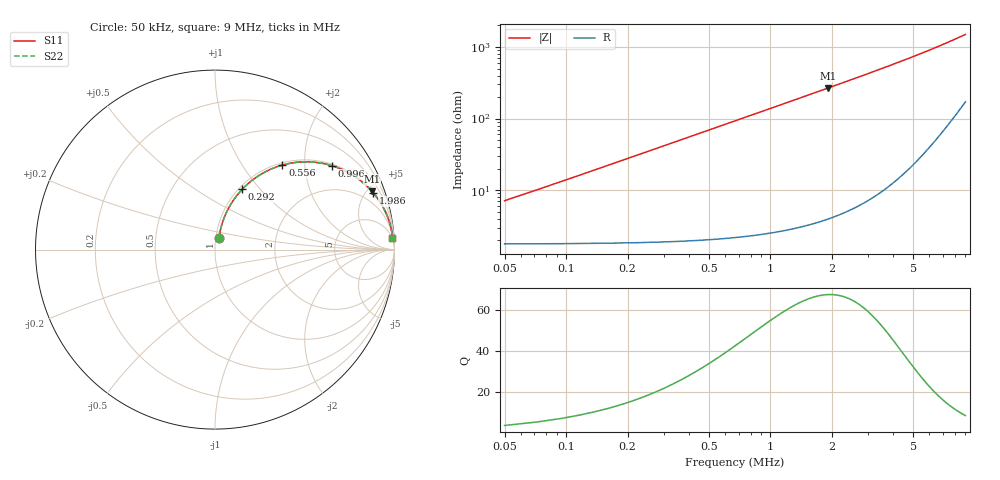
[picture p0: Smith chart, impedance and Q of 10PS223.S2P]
! Coilcraft 1008PS-223 Power Chip Inductor
! 7 October 2002
# MHZ S MA R 50
!Freq  MagS11  AngS11  MagS21  AngS21  MagS12  AngS12  MagS22  AngS22
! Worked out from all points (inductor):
!   408 points, 50 kHz to 9 MHz, reference 50 ohm
!   read as one part in series: L = 22 uH near 94 kHz
!   highest Q = 67.7 at 1.92 MHz (marker M1), where L = 22.2 uH
!   S11 on the Smith chart (normalised r, x): 50 kHz: 1.04, +0.14; 292 kHz: 1.04, +0.81; 556 kHz: 1.04, +1.54; 996 kHz: 1.05, +2.76; 1.986 MHz: 1.08, +5.55; 9 MHz: 4, +30
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0.05  0.06995 71.7  0.9803 -3.9  0.9803 -3.9  0.06995 71.7
0.072  0.09887 74.3  0.9778 -5.6  0.9778 -5.6  0.09887 74.3
0.116  0.1566 74.7  0.9704 -9.0  0.9704 -9.0  0.1566 74.7
0.16  0.213 73.0  0.9598 -12.3  0.9598 -12.3  0.213 73.0
0.226  0.2938 69.6  0.9387 -17.1  0.9387 -17.1  0.2938 69.6
0.292  0.3688 65.7  0.9125 -21.6  0.9125 -21.6  0.3688 65.7
0.402  0.479 59.4  0.8611 -28.6  0.8611 -28.6  0.479 59.4
0.556  0.602 51.5  0.7824 -37.0  0.7824 -37.0  0.602 51.5
0.666  0.67 46.6  0.7268 -42.1  0.7268 -42.1  0.67 46.6
0.776  0.7244 42.4  0.6742 -46.4  0.6742 -46.4  0.7244 42.4
0.996  0.8029 35.6  0.5816 -53.4  0.5816 -53.4  0.8029 35.6
1.26  0.8621 29.5  0.4929 -59.5  0.4929 -59.5  0.8621 29.5
1.546  0.9015 24.8  0.4192 -64.3  0.4192 -64.3  0.9015 24.8
1.92  0.9324 20.4  0.348 -68.8  0.348 -68.8  0.9324 20.4
1.986  0.9363 19.7  0.3376 -69.4  0.3376 -69.4  0.9363 19.7
2.448  0.9563 16.2  0.2783 -73.0  0.2783 -73.0  0.9563 16.2
3.042  0.9705 13.0  0.2254 -76.0  0.2254 -76.0  0.9705 13.0
3.746  0.9795 10.5  0.1825 -78.3  0.1825 -78.3  0.9795 10.5
4.538  0.9849 8.6  0.1491 -79.9  0.1491 -79.9  0.9849 8.6
6.034  0.9893 6.2  0.1085 -81.2  0.1085 -81.2  0.9893 6.2
7.53  0.9905 4.8  0.08313 -81.1  0.08313 -81.1  0.9905 4.8
9  0.9903 3.8  0.06614 -79.7  0.06614 -79.7  0.9903 3.8
